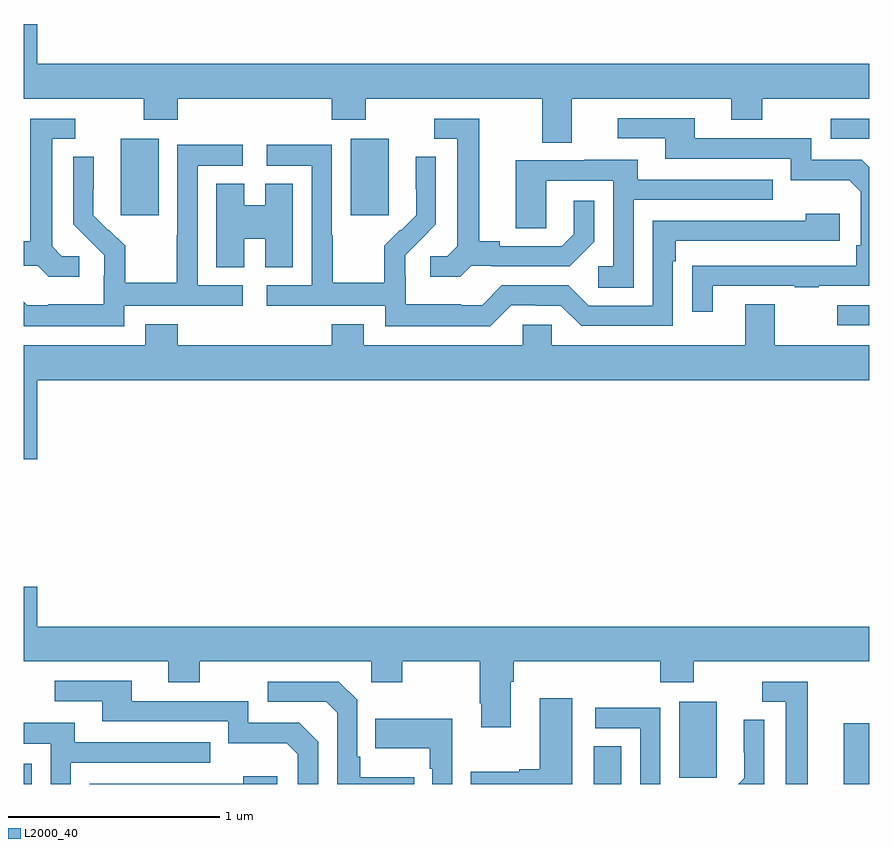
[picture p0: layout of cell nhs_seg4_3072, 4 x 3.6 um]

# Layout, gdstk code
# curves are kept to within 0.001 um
import gdstk
lib = gdstk.Library(unit=1e-6, precision=1e-09)
def R(c, l, rs):  # rectangles x0, y0, x1, y1
    for r in rs: c.add(gdstk.rectangle(r[:2], r[2:], *l))
def P(c, l, *ps):  # polygons
    for p in ps: c.add(gdstk.Polygon(p, *l))
L2000_40 = (2000, 40)

nhs_seg4_3072 = lib.new_cell('nhs_seg4_3072')
R(nhs_seg4_3072, L2000_40, [(273,802.9,273.036,802.996), (275.696,802.9,275.827,803.078), (276.881,802.9,277,803.187), (276.101,802.929,276.28,803.29), (276.849,805.071,277,805.167), (273.458,805.593,273.637,805.954), (274.547,805.593,274.726,805.954), (276.819,805.953,277,806.049)])
P(nhs_seg4_3072, L2000_40, [(273.064,806.497),(273,806.497),(273,806.144),(273.568,806.144),(273.568,806.045),(273.728,806.045),(273.728,806.144),(274.457,806.144),(274.457,806.045),(274.617,806.045),(274.617,806.144),(275.453,806.144),(275.453,805.936),(275.593,805.936),(275.593,806.144),(276.347,806.144),(276.347,806.045),(276.495,806.045),(276.495,806.144),(277,806.144),(277,806.308),(273.064,806.308)],
  [(276.259,805.257),(276.649,805.257),(276.649,805.252),(276.761,805.252),(276.761,805.257),(277,805.257),(277,805.82),(276.966,805.854),(276.726,805.854),(276.726,805.956),(276.175,805.956),(276.175,806.052),(275.811,806.052),(275.811,805.956),(276.035,805.956),(276.035,805.86),(276.63,805.86),(276.63,805.757),(276.907,805.757),(276.96,805.704),(276.96,805.45),(276.94,805.45),(276.94,805.353),(276.163,805.352),(276.163,805.134),(276.259,805.134)],
  [(273.262,805.398),(273.18,805.398),(273.133,805.445),(273.133,805.953),(273.244,805.953),(273.244,806.049),(273.029,806.049),(273.029,805.469),(273,805.469),(273,805.353),(273.066,805.353),(273.118,805.301),(273.262,805.301)],
  [(275.118,805.353),(275.212,805.353),(275.212,805.35),(275.584,805.35),(275.7,805.466),(275.7,805.66),(275.603,805.66),(275.603,805.503),(275.546,805.446),(275.251,805.446),(275.251,805.469),(275.155,805.469),(275.155,806.049),(274.941,806.049),(274.941,805.953),(275.051,805.953),(275.051,805.445),(275.004,805.398),(274.923,805.398),(274.923,805.301),(275.066,805.301)],
  [(273.474,805.164),(274.036,805.164),(274.036,805.26),(273.822,805.26),(273.822,805.827),(274.036,805.827),(274.036,805.926),(273.726,805.926),(273.726,805.496),(273.724,805.496),(273.724,805.273),(273.479,805.273),(273.479,805.447),(273.402,805.524),(273.399,805.521),(273.329,805.592),(273.33,805.868),(273.234,805.868),(273.234,805.55),(273.38,805.402),(273.38,805.305),(273.378,805.305),(273.378,805.171),(273.115,805.171),(273.115,805.167),(273.015,805.167),(273,805.182),(273,805.067),(273.474,805.067)],
  [(275.307,805.167),(275.423,805.167),(275.423,805.164),(275.541,805.164),(275.637,805.068),(276.072,805.068),(276.072,805.373),(276.085,805.373),(276.085,805.47),(276.862,805.47),(276.862,805.6),(276.701,805.6),(276.701,805.566),(275.976,805.566),(275.976,805.164),(275.673,805.164),(275.577,805.26),(275.262,805.26),(275.169,805.167),(275.069,805.167),(275.069,805.171),(274.806,805.171),(274.806,805.305),(274.804,805.305),(274.804,805.402),(274.95,805.55),(274.95,805.868),(274.854,805.868),(274.854,805.714),(274.856,805.714),(274.856,805.592),(274.785,805.521),(274.782,805.524),(274.705,805.447),(274.705,805.273),(274.461,805.273),(274.461,805.496),(274.458,805.496),(274.458,805.926),(274.149,805.926),(274.149,805.827),(274.362,805.827),(274.362,805.26),(274.149,805.26),(274.149,805.164),(274.71,805.164),(274.71,805.067),(275.207,805.067)],
  [(275.886,805.665),(276.545,805.665),(276.545,805.761),(275.905,805.761),(275.905,805.855),(275.651,805.855),(275.651,805.851),(275.327,805.851),(275.327,805.531),(275.472,805.531),(275.472,805.755),(275.79,805.755),(275.79,805.35),(275.718,805.35),(275.718,805.249),(275.886,805.249)],
  [(274.042,805.481),(274.142,805.481),(274.142,805.345),(274.273,805.345),(274.273,805.742),(274.142,805.742),(274.142,805.639),(274.042,805.639),(274.042,805.742),(273.911,805.742),(273.911,805.345),(274.042,805.345)],
  [(277,804.976),(276.553,804.976),(276.553,805.171),(276.413,805.171),(276.413,804.976),(275.499,804.976),(275.499,805.074),(275.361,805.074),(275.361,804.976),(274.609,804.976),(274.609,805.075),(274.457,805.075),(274.457,804.976),(273.728,804.976),(273.728,805.075),(273.575,805.075),(273.575,804.976),(273,804.976),(273,804.438),(273.064,804.438),(273.064,804.812),(277,804.812)],
  [(275.305,803.384),(275.318,803.384),(275.318,803.48),(276.011,803.48),(276.011,803.381),(276.171,803.381),(276.171,803.48),(277,803.48),(277,803.644),(273.064,803.644),(273.064,803.833),(273,803.833),(273,803.48),(273.683,803.48),(273.683,803.381),(273.831,803.381),(273.831,803.48),(274.644,803.48),(274.644,803.381),(274.791,803.381),(274.791,803.48),(275.158,803.48),(275.158,803.281),(275.165,803.281),(275.165,803.169),(275.305,803.169)],
  [(274.392,803.1),(274.302,803.19),(274.062,803.19),(274.062,803.292),(273.511,803.292),(273.511,803.388),(273.147,803.388),(273.147,803.292),(273.371,803.292),(273.371,803.196),(273.966,803.196),(273.966,803.093),(274.243,803.093),(274.296,803.04),(274.296,802.9),(274.392,802.9)],
  [(274.847,802.933),(274.591,802.933),(274.591,803.029),(274.578,803.029),(274.578,803.298),(274.491,803.385),(274.155,803.385),(274.155,803.289),(274.431,803.289),(274.482,803.238),(274.482,802.9),(274.847,802.9)],
  [(276.709,803.385),(276.495,803.385),(276.495,803.289),(276.605,803.289),(276.605,802.9),(276.709,802.9)],
  [(275.596,803.305),(275.441,803.305),(275.441,802.97),(275.345,802.97),(275.345,802.957),(275.115,802.957),(275.115,802.9),(275.596,802.9)],
  [(276.012,803.262),(275.703,803.262),(275.703,803.163),(275.916,803.163),(275.916,802.9),(276.012,802.9)],
  [(275.028,803.209),(274.663,803.209),(274.663,803.069),(274.92,803.069),(274.92,802.973),(274.932,802.973),(274.932,802.9),(275.028,802.9)],
  [(276.504,803.204),(276.408,803.204),(276.408,803.05),(276.41,803.05),(276.41,802.928),(276.382,802.9),(276.504,802.9)],
  [(273.222,803.001),(273.881,803.001),(273.881,803.097),(273.241,803.097),(273.241,803.191),(273,803.191),(273,803.091),(273.126,803.091),(273.126,802.9),(273.222,802.9)],
  [(274.198,802.936),(274.037,802.936),(274.037,802.902),(273.312,802.902),(273.312,802.9),(274.198,802.9)])

lib.write_gds('nhs_seg4_3072.gds')
